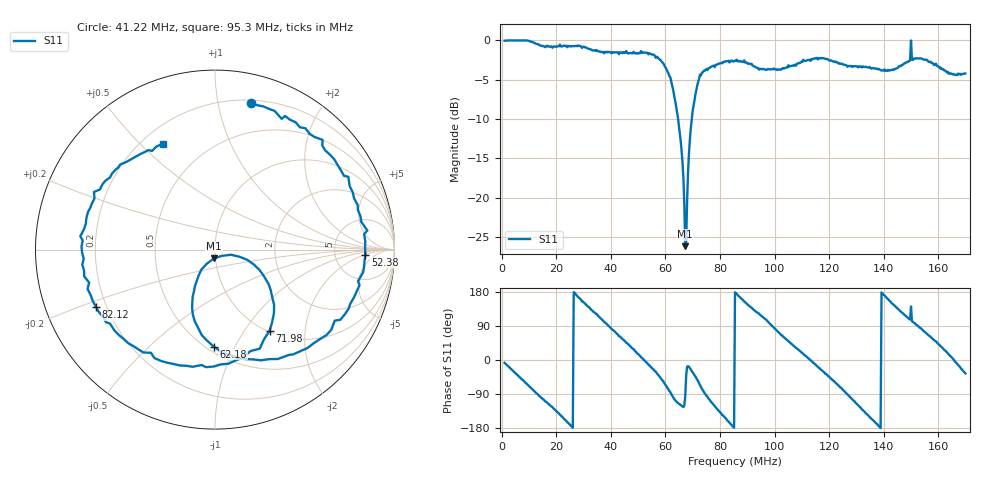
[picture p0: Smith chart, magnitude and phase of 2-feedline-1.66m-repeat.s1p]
! Touchstone file generated by AntScopeKit
# MHz S RI R 50
! Format: Frequency S-real S-imaginary (normalized to 50 Ohm)
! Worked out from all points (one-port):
!   501 points, 1 MHz to 170 MHz, reference 50 ohm
!   lowest |S11| = -26.2 dB at 67.25 MHz (marker M1), VSWR 1.10, Z = 49.2 - j4.82 ohm
!   |S11| at or under -10 dB: 64.63 MHz to 69.65 MHz (5.028 MHz wide, 7.49 % of centre)
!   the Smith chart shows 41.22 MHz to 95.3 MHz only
!   S11 on the Smith chart (normalised r, x): 41.22 MHz: 0.22, +1.25; 52.38 MHz: 11, -2; 62.18 MHz: 0.54, -0.83; 71.98 MHz: 1.02, -1.31; 82.12 MHz: 0.16, -0.22; 95.3 MHz: 0.28, +0.59
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1  0.9871 -0.131
5.394  0.789 -0.6144
11.14  0.2177 -0.9545
16.886  -0.3785 -0.8333
22.294  -0.8062 -0.4442
29.392  -0.8091 0.3856
35.814  -0.3306 0.7833
41.222  0.2012 0.8173
43.25  0.3902 0.7446
52.376  0.8375 -0.0277
58.798  0.437 -0.5832
62.178  -0.00633 -0.5408
64.544  -0.1266 -0.2995
67.248  -0.00568 -0.0488
69.614  0.2732 -0.1489
71.98  0.3039 -0.452
76.374  -0.1933 -0.6459
82.12  -0.6626 -0.3206
85.5  -0.7438 0.0173
95.302  -0.2891 0.5882
106.794  0.5395 0.4351
116.934  0.6971 -0.3223
127.75  -0.0984 -0.6817
137.552  -0.6486 -0.1327
149.044  -0.2563 0.6904
154.452  0.1606 0.7428
161.212  0.5479 0.3775
170  0.5032 -0.3563
